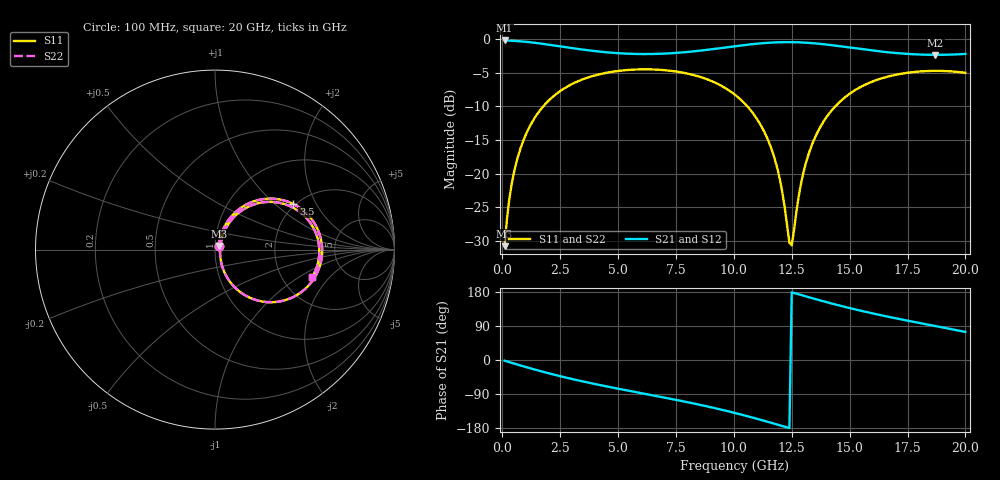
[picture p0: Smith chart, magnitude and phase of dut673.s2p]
! Touchstone file exported from HFSS 2026.1.0
!  File:  C:/ffzhzh/LocalFiles/Ansys_Project_Files/temp_train_TSV_RDL_673_1783132617_37876.aedt
!  Generated:  10:51:54 AM Jul  4, 2026
!  Design:  TSV_RDL
!  Project:  temp_train_TSV_RDL_673_1783132617_37876
! Variables:
!  h_bsmrdl = 3.51um
!  h_ox = 20um
!  h_rdl = 5um
!  h_sub = 55.23um
!  h_tmrdl = 5.88um
!  h_tsv = 55.23um
!  h_via = 3um
!  l_bsmrdl = 384.08um
!  l_sub = 5251.95um
!  l_tmrdl = 898.49um
!  m_sub = 200um
!  pitch = 51.06um
!  r_tsv = 6.61um
!  s_tmrdl = 10um
!  w_bsmrdl = 14.78um
!  w_sub = 500um
!  w_tmrdl = 20.47um
!  x_tsv_center1 = 908.725um
!  x_tsv_center2 = 1307.585um
!  x_tsv_center3 = 2226.545um
!  x_tsv_center4 = 2625.405um
!  x_tsv_center5 = 3544.365um
!  x_tsv_center6 = 3943.225um
# GHz S MA R 50.000000
! Terminal data exported
! Port[1] = TM_RDL1_1_T1
! Port[2] = TM_RDL5_1_T1
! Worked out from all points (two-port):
!   200 points, 100 MHz to 20 GHz, reference 50 ohm
!   highest |S21| = -0.18 dB at 100 MHz (marker M1); lowest = -2.3 dB at 18.7 GHz (marker M2)
!   |S21| within 3 dB of the highest: start of sweep to end of sweep
!   lowest |S11| = -30.8 dB at 100 MHz (marker M3), VSWR 1.06, Z = 52.1 + j2.09 ohm
!   |S11| at or under -10 dB: start of sweep to 1.769 GHz; 10.58 GHz to 14.38 GHz (3.796 GHz wide, 30.4 % of centre)
!   |S22| runs from -30.8 to -4.5 dB; largest |S21 - S12| = 1.6e-14
!   S11 on the Smith chart (normalised r, x): 100 MHz: 1.04, +0.04; 3.5 GHz: 1.95, +1.33; 20 GHz: 2.92, -1.31
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0.1  0.02875 44.1  0.9798 -1.9  0.9798 -1.9  0.02875 44.1
! Gamma 0 0 0 0
! Port Impedance 50 0 50 0
0.3  0.06391 64.9  0.9769 -5.6  0.9769 -5.6  0.06391 64.9
0.5  0.101 68.1  0.973 -9.3  0.973 -9.3  0.101 68.1
1.1  0.2095 63.5  0.9543 -20.0  0.9543 -20.0  0.2095 63.5
2.1  0.3622 49.3  0.9064 -36.6  0.9064 -36.6  0.3622 49.3
3.5  0.5048 30.2  0.8362 -56.9  0.8362 -56.9  0.5048 30.2
5.2  0.5859 9.8  0.784 -78.1  0.784 -78.1  0.5859 9.8
6.8  0.5923 -8.1  0.7795 -96.8  0.7795 -96.8  0.5923 -8.1
8.7  0.5137 -30.5  0.8284 -120.4  0.8284 -120.4  0.5137 -30.5
10.1  0.38 -48.9  0.8897 -140.6  0.8897 -140.6  0.38 -49.0
11  0.2547 -61.0  0.9269 -155.2  0.9269 -155.2  0.2547 -61.0
11.6  0.1567 -67.0  0.9443 -165.5  0.9443 -165.5  0.1567 -67.1
12  0.08821 -65.5  0.9507 -172.5  0.9507 -172.5  0.08817 -65.7
12.4  0.03045 -22.7  0.9523 -179.6  0.9523 -179.6  0.03026 -22.9
12.5  0.02917 10.9  0.952 178.6  0.952 178.6  0.02896 11.0
12.9  0.08395 60.5  0.9474 171.5  0.9474 171.5  0.08385 60.6
13.4  0.1681 62.0  0.9354 162.8  0.9354 162.8  0.168 62.1
14  0.2626 55.7  0.9136 152.7  0.9136 152.7  0.2625 55.7
14.7  0.3575 46.5  0.8823 141.6  0.8823 141.6  0.3575 46.6
16.7  0.5297 21.2  0.7985 113.7  0.7985 113.7  0.5297 21.2
18.7  0.5815 -1.4  0.7656 89.6  0.7656 89.6  0.5815 -1.4
20  0.5624 -15.9  0.778 74.2  0.778 74.2  0.5624 -15.9
